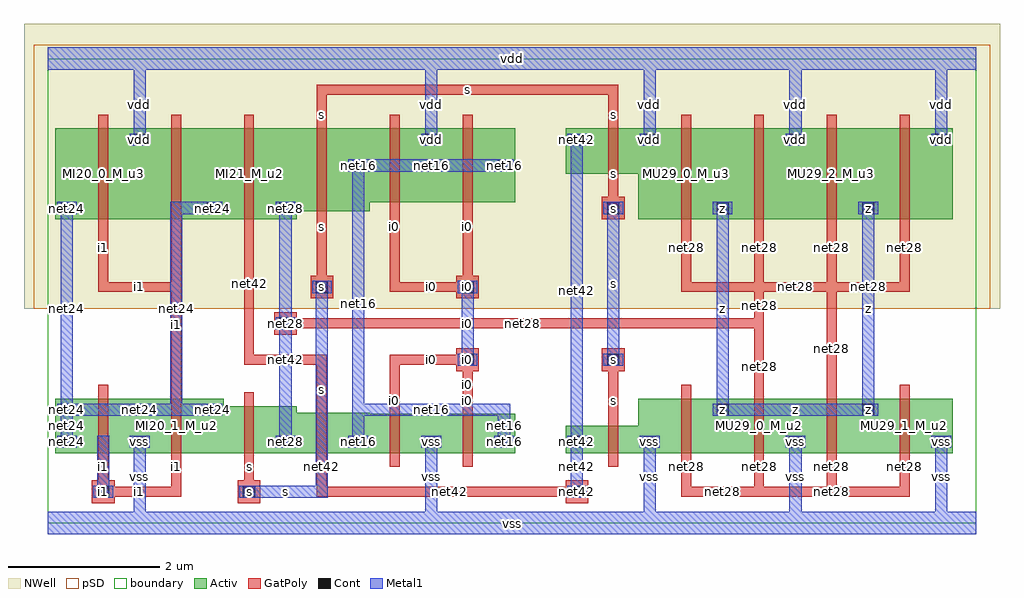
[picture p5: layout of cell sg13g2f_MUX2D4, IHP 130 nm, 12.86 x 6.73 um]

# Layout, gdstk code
import gdstk
lib = gdstk.Library(unit=1e-6, precision=1e-09)
def R(c, l, rs):  # rectangles x0, y0, x1, y1
    for r in rs: c.add(gdstk.rectangle(r[:2], r[2:], *l))
def A(c, l, x, y, w, h, nx, ny, dx, dy):  # array of equal rectangles
    R(c, l, [(x+i*dx, y+j*dy, x+i*dx+w, y+j*dy+h) for i in range(nx) for j in range(ny)])
Activ = (1, 0)
GatPoly = (5, 0)
Cont = (6, 0)
Metal1 = (8, 0)
pSD = (14, 0)
NWell = (31, 0)
TEXT = (63, 0)
boundary = (189, 4)

sg13g2f_mux2d4 = lib.new_cell('sg13g2f_MUX2D4')
A(sg13g2f_mux2d4, Activ, 2.985, 0.92, 0.3, 0.3, 6, 1, 0.96, 0)
A(sg13g2f_mux2d4, Activ, 7.785, 0.92, 1.26, 0.72, 4, 1, 0.96, 0)
A(sg13g2f_mux2d4, Activ, 0.105, 4, 1.26, 1.2, 3, 1, 0.96, 0)
A(sg13g2f_mux2d4, Activ, 7.785, 4, 1.26, 1.2, 4, 1, 0.96, 0)
A(sg13g2f_mux2d4, Activ, 7.785, 4.9, 0.3, 0.3, 3, 1, 1.92, 0)
R(sg13g2f_mux2d4, Activ, [(0.105,0.92,1.365,1.64), (0.105,0.92,0.405,1.22), (1.065,0.92,2.325,1.64), (1.065,0.92,1.365,1.22), (2.025,0.92,3.285,1.54), (2.985,0.92,4.245,1.455), (3.945,0.92,5.205,1.44), (4.905,0.92,6.165,1.44), (6.825,0.92,8.085,1.28), (9.705,0.92,10.005,1.22), (11.625,0.92,11.925,1.22), (0.105,1.34,0.405,1.64), (2.025,1.34,2.325,1.64), (8.745,1.34,9.045,1.64), (10.665,1.34,10.965,1.64), (0.105,4,0.405,4.3), (2.025,4,2.325,4.3), (2.985,4,3.285,4.3), (8.745,4,9.045,4.3), (10.665,4,10.965,4.3), (2.985,4.105,4.245,5.2), (3.945,4.225,5.205,5.2), (4.905,4.225,6.165,5.2), (3.945,4.56,4.245,4.86), (5.865,4.56,6.165,4.86), (6.825,4.6,8.085,5.2), (1.065,4.9,1.365,5.2), (4.905,4.9,5.205,5.2), (6.825,4.9,7.125,5.2)])
A(sg13g2f_mux2d4, GatPoly, 0.67, 0.345, 0.13, 0.79, 4, 1, 0.96, 0)
A(sg13g2f_mux2d4, GatPoly, 8.35, 0.345, 0.13, 0.79, 4, 1, 0.96, 0)
A(sg13g2f_mux2d4, GatPoly, 8.35, 0.74, 0.13, 1.08, 4, 1, 0.96, 0)
A(sg13g2f_mux2d4, GatPoly, 3.55, 1.005, 0.13, 1.21, 3, 1, 0.96, 0)
A(sg13g2f_mux2d4, GatPoly, 3.55, 3.045, 0.13, 1.73, 3, 1, 0.96, 0)
A(sg13g2f_mux2d4, GatPoly, 8.35, 3.045, 0.13, 1.17, 4, 1, 0.96, 0)
A(sg13g2f_mux2d4, GatPoly, 0.67, 3.82, 0.13, 1.56, 3, 1, 0.96, 0)
A(sg13g2f_mux2d4, GatPoly, 8.35, 3.82, 0.13, 1.56, 4, 1, 0.96, 0)
R(sg13g2f_mux2d4, GatPoly, [(0.585,0.26,0.885,0.56), (2.505,0.26,2.805,0.56), (6.825,0.26,7.125,0.56), (0.67,0.345,1.76,0.475), (3.55,0.345,7.04,0.475), (8.35,0.345,9.44,0.475), (9.31,0.345,11.36,0.475), (9.31,0.345,10.4,0.475), (0.67,0.74,0.8,1.82), (1.63,0.74,1.76,1.82), (2.59,0.74,2.72,1.72), (3.55,0.74,3.68,1.635), (4.51,0.74,4.64,1.62), (5.47,0.74,5.6,1.62), (7.39,0.74,7.52,1.46), (1.63,1.005,1.76,4.215), (7.39,1.005,7.52,2.215), (5.47,1.425,5.6,2.215), (9.31,1.425,9.44,2.695), (10.27,1.425,10.4,3.175), (5.385,2,5.685,2.3), (5.385,2,5.685,2.3), (7.305,2,7.605,2.3), (2.59,2.085,3.68,2.215), (2.59,2.085,2.72,4.215), (4.51,2.085,5.6,2.215), (2.985,2.48,3.285,2.78), (3.07,2.565,9.44,2.695), (9.31,2.565,9.44,3.175), (3.465,2.96,3.765,3.26), (5.385,2.96,5.685,3.26), (5.385,2.96,5.685,3.26), (0.67,3.045,1.76,3.175), (0.67,3.045,0.8,4.215), (4.51,3.045,5.6,3.175), (8.35,3.045,10.4,3.175), (9.31,3.045,10.4,3.175), (9.31,3.045,10.4,3.175), (10.27,3.045,11.36,3.175), (3.55,3.925,3.68,5.38), (7.305,4,7.605,4.3), (4.51,4.045,4.64,5.38), (5.47,4.045,5.6,5.38), (7.39,4.085,7.52,5.115), (7.39,4.42,7.52,5.38), (3.55,4.985,3.68,5.775), (7.39,4.985,7.52,5.775), (3.55,5.645,7.52,5.775)])
A(sg13g2f_mux2d4, Cont, 3.055, 0.99, 0.16, 0.16, 6, 1, 0.96, 0)
A(sg13g2f_mux2d4, Cont, 7.855, 4.97, 0.16, 0.16, 3, 1, 1.92, 0)
R(sg13g2f_mux2d4, Cont, [(0.655,0.33,0.815,0.49), (2.575,0.33,2.735,0.49), (6.895,0.33,7.055,0.49), (0.175,0.99,0.335,1.15), (1.135,0.99,1.295,1.15), (9.775,0.99,9.935,1.15), (11.695,0.99,11.855,1.15), (0.175,1.41,0.335,1.57), (2.095,1.41,2.255,1.57), (8.815,1.41,8.975,1.57), (10.735,1.41,10.895,1.57), (5.455,2.07,5.615,2.23), (5.455,2.07,5.615,2.23), (7.375,2.07,7.535,2.23), (3.055,2.55,3.215,2.71), (3.535,3.03,3.695,3.19), (5.455,3.03,5.615,3.19), (5.455,3.03,5.615,3.19), (0.175,4.07,0.335,4.23), (2.095,4.07,2.255,4.23), (3.055,4.07,3.215,4.23), (7.375,4.07,7.535,4.23), (8.815,4.07,8.975,4.23), (10.735,4.07,10.895,4.23), (4.015,4.63,4.175,4.79), (5.935,4.63,6.095,4.79), (1.135,4.97,1.295,5.13), (4.975,4.97,5.135,5.13), (6.895,4.97,7.055,5.13)])
A(sg13g2f_mux2d4, Metal1, 7.855, 0.07, 0.16, 1.08, 3, 2, 1.92, 4.9)
A(sg13g2f_mux2d4, Metal1, 3.005, 0.99, 0.26, 0.16, 6, 1, 0.96, 0)
A(sg13g2f_mux2d4, Metal1, 7.805, 4.97, 0.26, 0.16, 3, 1, 1.92, 0)
R(sg13g2f_mux2d4, Metal1, [(0,-0.15,12.24,0.15), (1.135,0.07,1.295,1.15), (4.975,0.07,5.135,1.15), (0.605,0.33,0.865,0.49), (0.655,0.33,0.815,1.15), (2.525,0.33,2.785,0.49), (2.575,0.33,3.695,0.49), (3.535,0.33,3.695,3.19), (6.845,0.33,7.105,0.49), (6.895,0.33,7.055,1.15), (0.125,0.99,0.385,1.15), (0.175,0.99,0.335,1.57), (1.085,0.99,1.345,1.15), (3.055,0.99,3.215,4.23), (4.015,0.99,4.175,4.79), (5.935,0.99,6.095,1.57), (6.895,0.99,7.055,5.13), (9.725,0.99,9.985,1.15), (11.645,0.99,11.905,1.15), (0.125,1.41,0.385,1.57), (0.175,1.41,2.255,1.57), (0.175,1.41,0.335,4.23), (0.175,1.41,1.775,1.57), (1.615,1.41,1.775,4.23), (2.045,1.41,2.305,1.57), (4.015,1.41,6.095,1.57), (8.765,1.41,9.025,1.57), (8.815,1.41,10.895,1.57), (8.815,1.41,8.975,4.23), (10.685,1.41,10.945,1.57), (10.735,1.41,10.895,4.23), (5.405,2.07,5.665,2.23), (5.405,2.07,5.665,2.23), (5.455,2.07,5.615,3.19), (5.455,2.07,5.615,3.19), (7.325,2.07,7.585,2.23), (7.375,2.07,7.535,4.23), (3.005,2.55,3.265,2.71), (3.485,3.03,3.745,3.19), (5.405,3.03,5.665,3.19), (5.405,3.03,5.665,3.19), (0.125,4.07,0.385,4.23), (1.615,4.07,2.255,4.23), (2.045,4.07,2.305,4.23), (3.005,4.07,3.265,4.23), (7.325,4.07,7.585,4.23), (8.765,4.07,9.025,4.23), (10.685,4.07,10.945,4.23), (3.965,4.63,4.225,4.79), (4.015,4.63,6.095,4.79), (5.885,4.63,6.145,4.79), (1.085,4.97,1.345,5.13), (1.135,4.97,1.295,6.05), (4.925,4.97,5.185,5.13), (4.975,4.97,5.135,6.05), (6.845,4.97,7.105,5.13), (0,5.97,12.24,6.27)])
R(sg13g2f_mux2d4, pSD, [(-0.18,2.82,12.42,5.94), (-0.18,5.94,12.42,6.3)])
R(sg13g2f_mux2d4, NWell, [(-0.31,2.82,12.55,6.58)])
R(sg13g2f_mux2d4, boundary, [(0,0,12.24,6.12)])
sg13g2f_mux2d4.add(gdstk.FlexPath([(0.105,0.41),(11.925,0.41)], 0, ends="flush", simple_path=True, layer=63, datatype=0))  # TEXT
sg13g2f_mux2d4.add(gdstk.FlexPath([(0.105,1.07),(11.925,1.07)], 0, ends="flush", simple_path=True, layer=63, datatype=0))  # TEXT
sg13g2f_mux2d4.add(gdstk.FlexPath([(0.105,1.49),(11.925,1.49)], 0, ends="flush", simple_path=True, layer=63, datatype=0))  # TEXT
sg13g2f_mux2d4.add(gdstk.FlexPath([(0.105,2.15),(11.925,2.15)], 0, ends="flush", simple_path=True, layer=63, datatype=0))  # TEXT
sg13g2f_mux2d4.add(gdstk.FlexPath([(0.105,2.63),(11.925,2.63)], 0, ends="flush", simple_path=True, layer=63, datatype=0))  # TEXT
sg13g2f_mux2d4.add(gdstk.FlexPath([(0.105,3.11),(11.925,3.11)], 0, ends="flush", simple_path=True, layer=63, datatype=0))  # TEXT
sg13g2f_mux2d4.add(gdstk.FlexPath([(0.105,4.15),(11.925,4.15)], 0, ends="flush", simple_path=True, layer=63, datatype=0))  # TEXT
sg13g2f_mux2d4.add(gdstk.FlexPath([(0.105,4.71),(11.925,4.71)], 0, ends="flush", simple_path=True, layer=63, datatype=0))  # TEXT
sg13g2f_mux2d4.add(gdstk.FlexPath([(0.105,5.05),(11.925,5.05)], 0, ends="flush", simple_path=True, layer=63, datatype=0))  # TEXT
sg13g2f_mux2d4.add(gdstk.FlexPath([(0.105,5.71),(11.925,5.71)], 0, ends="flush", simple_path=True, layer=63, datatype=0))  # TEXT
sg13g2f_mux2d4.add(gdstk.FlexPath([(0.255,0.07),(0.255,6.05)], 0, ends="flush", simple_path=True, layer=63, datatype=0))  # TEXT
sg13g2f_mux2d4.add(gdstk.FlexPath([(0.735,0.07),(0.735,6.05)], 0, ends="flush", simple_path=True, layer=63, datatype=0))  # TEXT
sg13g2f_mux2d4.add(gdstk.FlexPath([(1.215,0.07),(1.215,6.05)], 0, ends="flush", simple_path=True, layer=63, datatype=0))  # TEXT
sg13g2f_mux2d4.add(gdstk.FlexPath([(1.695,0.07),(1.695,6.05)], 0, ends="flush", simple_path=True, layer=63, datatype=0))  # TEXT
sg13g2f_mux2d4.add(gdstk.FlexPath([(2.175,0.07),(2.175,6.05)], 0, ends="flush", simple_path=True, layer=63, datatype=0))  # TEXT
sg13g2f_mux2d4.add(gdstk.FlexPath([(2.655,0.07),(2.655,6.05)], 0, ends="flush", simple_path=True, layer=63, datatype=0))  # TEXT
sg13g2f_mux2d4.add(gdstk.FlexPath([(3.135,0.07),(3.135,6.05)], 0, ends="flush", simple_path=True, layer=63, datatype=0))  # TEXT
sg13g2f_mux2d4.add(gdstk.FlexPath([(3.615,0.07),(3.615,6.05)], 0, ends="flush", simple_path=True, layer=63, datatype=0))  # TEXT
sg13g2f_mux2d4.add(gdstk.FlexPath([(4.095,0.07),(4.095,6.05)], 0, ends="flush", simple_path=True, layer=63, datatype=0))  # TEXT
sg13g2f_mux2d4.add(gdstk.FlexPath([(4.575,0.07),(4.575,6.05)], 0, ends="flush", simple_path=True, layer=63, datatype=0))  # TEXT
sg13g2f_mux2d4.add(gdstk.FlexPath([(5.055,0.07),(5.055,6.05)], 0, ends="flush", simple_path=True, layer=63, datatype=0))  # TEXT
sg13g2f_mux2d4.add(gdstk.FlexPath([(5.535,0.07),(5.535,6.05)], 0, ends="flush", simple_path=True, layer=63, datatype=0))  # TEXT
sg13g2f_mux2d4.add(gdstk.FlexPath([(6.015,0.07),(6.015,6.05)], 0, ends="flush", simple_path=True, layer=63, datatype=0))  # TEXT
sg13g2f_mux2d4.add(gdstk.FlexPath([(6.495,0.07),(6.495,6.05)], 0, ends="flush", simple_path=True, layer=63, datatype=0))  # TEXT
sg13g2f_mux2d4.add(gdstk.FlexPath([(6.975,0.07),(6.975,6.05)], 0, ends="flush", simple_path=True, layer=63, datatype=0))  # TEXT
sg13g2f_mux2d4.add(gdstk.FlexPath([(7.455,0.07),(7.455,6.05)], 0, ends="flush", simple_path=True, layer=63, datatype=0))  # TEXT
sg13g2f_mux2d4.add(gdstk.FlexPath([(7.935,0.07),(7.935,6.05)], 0, ends="flush", simple_path=True, layer=63, datatype=0))  # TEXT
sg13g2f_mux2d4.add(gdstk.FlexPath([(8.415,0.07),(8.415,6.05)], 0, ends="flush", simple_path=True, layer=63, datatype=0))  # TEXT
sg13g2f_mux2d4.add(gdstk.FlexPath([(8.895,0.07),(8.895,6.05)], 0, ends="flush", simple_path=True, layer=63, datatype=0))  # TEXT
sg13g2f_mux2d4.add(gdstk.FlexPath([(9.375,0.07),(9.375,6.05)], 0, ends="flush", simple_path=True, layer=63, datatype=0))  # TEXT
sg13g2f_mux2d4.add(gdstk.FlexPath([(9.855,0.07),(9.855,6.05)], 0, ends="flush", simple_path=True, layer=63, datatype=0))  # TEXT
sg13g2f_mux2d4.add(gdstk.FlexPath([(10.335,0.07),(10.335,6.05)], 0, ends="flush", simple_path=True, layer=63, datatype=0))  # TEXT
sg13g2f_mux2d4.add(gdstk.FlexPath([(10.815,0.07),(10.815,6.05)], 0, ends="flush", simple_path=True, layer=63, datatype=0))  # TEXT
sg13g2f_mux2d4.add(gdstk.FlexPath([(11.295,0.07),(11.295,6.05)], 0, ends="flush", simple_path=True, layer=63, datatype=0))  # TEXT
sg13g2f_mux2d4.add(gdstk.FlexPath([(11.775,0.07),(11.775,6.05)], 0, ends="flush", simple_path=True, layer=63, datatype=0))  # TEXT
sg13g2f_mux2d4.add(gdstk.Label('net24', (2.175,1.49), layer=6, texttype=0))
sg13g2f_mux2d4.add(gdstk.Label('net24', (0.255,1.07), layer=6, texttype=0))
sg13g2f_mux2d4.add(gdstk.Label('net24', (0.255,1.49), layer=6, texttype=0))
sg13g2f_mux2d4.add(gdstk.Label('net24', (2.175,4.15), layer=6, texttype=0))
sg13g2f_mux2d4.add(gdstk.Label('net24', (0.255,4.15), layer=6, texttype=0))
sg13g2f_mux2d4.add(gdstk.Label('s', (2.655,0.41), layer=6, texttype=0))
sg13g2f_mux2d4.add(gdstk.Label('s', (3.615,3.11), layer=6, texttype=0))
sg13g2f_mux2d4.add(gdstk.Label('s', (7.455,2.15), layer=6, texttype=0))
sg13g2f_mux2d4.add(gdstk.Label('s', (7.455,4.15), layer=6, texttype=0))
sg13g2f_mux2d4.add(gdstk.Label('net28', (3.135,1.07), layer=6, texttype=0))
sg13g2f_mux2d4.add(gdstk.Label('net28', (3.135,4.15), layer=6, texttype=0))
sg13g2f_mux2d4.add(gdstk.Label('net28', (3.135,2.63), layer=6, texttype=0))
sg13g2f_mux2d4.add(gdstk.Label('net16', (4.095,1.07), layer=6, texttype=0))
sg13g2f_mux2d4.add(gdstk.Label('net16', (6.015,1.07), layer=6, texttype=0))
sg13g2f_mux2d4.add(gdstk.Label('net16', (4.095,4.71), layer=6, texttype=0))
sg13g2f_mux2d4.add(gdstk.Label('net16', (6.015,4.71), layer=6, texttype=0))
sg13g2f_mux2d4.add(gdstk.Label('net42', (6.975,1.07), layer=6, texttype=0))
sg13g2f_mux2d4.add(gdstk.Label('net42', (6.975,5.05), layer=6, texttype=0))
sg13g2f_mux2d4.add(gdstk.Label('net42', (6.975,0.41), layer=6, texttype=0))
sg13g2f_mux2d4.add(gdstk.Label('i1', (0.735,0.41), layer=6, texttype=0))
sg13g2f_mux2d4.add(gdstk.Label('i0', (5.535,2.15), layer=6, texttype=0))
sg13g2f_mux2d4.add(gdstk.Label('i0', (5.535,3.11), layer=6, texttype=0))
sg13g2f_mux2d4.add(gdstk.Label('i0', (5.535,2.15), layer=6, texttype=0))
sg13g2f_mux2d4.add(gdstk.Label('i0', (5.535,3.11), layer=6, texttype=0))
sg13g2f_mux2d4.add(gdstk.Label('z', (8.895,1.49), layer=6, texttype=0))
sg13g2f_mux2d4.add(gdstk.Label('z', (10.815,1.49), layer=6, texttype=0))
sg13g2f_mux2d4.add(gdstk.Label('z', (8.895,4.15), layer=6, texttype=0))
sg13g2f_mux2d4.add(gdstk.Label('z', (10.815,4.15), layer=6, texttype=0))
sg13g2f_mux2d4.add(gdstk.Label('vss', (1.215,1.07), layer=6, texttype=0))
sg13g2f_mux2d4.add(gdstk.Label('vss', (5.055,1.07), layer=6, texttype=0))
sg13g2f_mux2d4.add(gdstk.Label('vss', (7.935,1.07), layer=6, texttype=0))
sg13g2f_mux2d4.add(gdstk.Label('vss', (9.855,1.07), layer=6, texttype=0))
sg13g2f_mux2d4.add(gdstk.Label('vss', (11.775,1.07), layer=6, texttype=0))
sg13g2f_mux2d4.add(gdstk.Label('vdd', (1.215,5.05), layer=6, texttype=0))
sg13g2f_mux2d4.add(gdstk.Label('vdd', (5.055,5.05), layer=6, texttype=0))
sg13g2f_mux2d4.add(gdstk.Label('vdd', (7.935,5.05), layer=6, texttype=0))
sg13g2f_mux2d4.add(gdstk.Label('vdd', (9.855,5.05), layer=6, texttype=0))
sg13g2f_mux2d4.add(gdstk.Label('vdd', (11.775,5.05), layer=6, texttype=0))
sg13g2f_mux2d4.add(gdstk.Label('net24', (2.175,1.49), layer=8, texttype=0))
sg13g2f_mux2d4.add(gdstk.Label('net24', (0.255,1.07), layer=8, texttype=0))
sg13g2f_mux2d4.add(gdstk.Label('net24', (0.255,1.49), layer=8, texttype=0))
sg13g2f_mux2d4.add(gdstk.Label('net24', (2.175,4.15), layer=8, texttype=0))
sg13g2f_mux2d4.add(gdstk.Label('net24', (0.255,4.15), layer=8, texttype=0))
sg13g2f_mux2d4.add(gdstk.Label('net24', (1.215,1.49), layer=8, texttype=0))
sg13g2f_mux2d4.add(gdstk.Label('net24', (0.255,2.82), layer=8, texttype=0))
sg13g2f_mux2d4.add(gdstk.Label('net24', (0.975,1.49), layer=8, texttype=0))
sg13g2f_mux2d4.add(gdstk.Label('net24', (1.695,2.82), layer=8, texttype=0))
sg13g2f_mux2d4.add(gdstk.Label('net24', (1.935,4.15), layer=8, texttype=0))
sg13g2f_mux2d4.add(gdstk.Label('net24', (0.255,1.28), layer=8, texttype=0))
sg13g2f_mux2d4.add(gdstk.Label('net28', (3.135,1.07), layer=8, texttype=0))
sg13g2f_mux2d4.add(gdstk.Label('net28', (3.135,4.15), layer=8, texttype=0))
sg13g2f_mux2d4.add(gdstk.Label('net28', (3.135,2.61), layer=8, texttype=0))
sg13g2f_mux2d4.add(gdstk.Label('net28', (3.135,2.63), layer=8, texttype=0))
sg13g2f_mux2d4.add(gdstk.Label('net16', (4.095,1.07), layer=8, texttype=0))
sg13g2f_mux2d4.add(gdstk.Label('net16', (6.015,1.07), layer=8, texttype=0))
sg13g2f_mux2d4.add(gdstk.Label('net16', (4.095,4.71), layer=8, texttype=0))
sg13g2f_mux2d4.add(gdstk.Label('net16', (6.015,4.71), layer=8, texttype=0))
sg13g2f_mux2d4.add(gdstk.Label('net16', (4.095,2.89), layer=8, texttype=0))
sg13g2f_mux2d4.add(gdstk.Label('net16', (6.015,1.28), layer=8, texttype=0))
sg13g2f_mux2d4.add(gdstk.Label('net16', (5.055,1.49), layer=8, texttype=0))
sg13g2f_mux2d4.add(gdstk.Label('net16', (5.055,4.71), layer=8, texttype=0))
sg13g2f_mux2d4.add(gdstk.Label('net42', (6.975,1.07), layer=8, texttype=0))
sg13g2f_mux2d4.add(gdstk.Label('net42', (6.975,5.05), layer=8, texttype=0))
sg13g2f_mux2d4.add(gdstk.Label('net42', (6.975,0.41), layer=8, texttype=0))
sg13g2f_mux2d4.add(gdstk.Label('net42', (6.975,0.74), layer=8, texttype=0))
sg13g2f_mux2d4.add(gdstk.Label('net42', (6.975,3.06), layer=8, texttype=0))
sg13g2f_mux2d4.add(gdstk.Label('vss', (1.215,1.07), layer=8, texttype=0))
sg13g2f_mux2d4.add(gdstk.Label('vss', (1.215,0.61), layer=8, texttype=0))
sg13g2f_mux2d4.add(gdstk.Label('vss', (5.055,1.07), layer=8, texttype=0))
sg13g2f_mux2d4.add(gdstk.Label('vss', (5.055,0.61), layer=8, texttype=0))
sg13g2f_mux2d4.add(gdstk.Label('vss', (7.935,1.07), layer=8, texttype=0))
sg13g2f_mux2d4.add(gdstk.Label('vss', (7.935,0.61), layer=8, texttype=0))
sg13g2f_mux2d4.add(gdstk.Label('vss', (9.855,1.07), layer=8, texttype=0))
sg13g2f_mux2d4.add(gdstk.Label('vss', (9.855,0.61), layer=8, texttype=0))
sg13g2f_mux2d4.add(gdstk.Label('vss', (11.775,1.07), layer=8, texttype=0))
sg13g2f_mux2d4.add(gdstk.Label('vss', (11.775,0.61), layer=8, texttype=0))
sg13g2f_mux2d4.add(gdstk.Label('vdd', (1.215,5.05), layer=8, texttype=0))
sg13g2f_mux2d4.add(gdstk.Label('vdd', (1.215,5.51), layer=8, texttype=0))
sg13g2f_mux2d4.add(gdstk.Label('vdd', (5.055,5.05), layer=8, texttype=0))
sg13g2f_mux2d4.add(gdstk.Label('vdd', (5.055,5.51), layer=8, texttype=0))
sg13g2f_mux2d4.add(gdstk.Label('vdd', (7.935,5.05), layer=8, texttype=0))
sg13g2f_mux2d4.add(gdstk.Label('vdd', (7.935,5.51), layer=8, texttype=0))
sg13g2f_mux2d4.add(gdstk.Label('vdd', (9.855,5.05), layer=8, texttype=0))
sg13g2f_mux2d4.add(gdstk.Label('vdd', (9.855,5.51), layer=8, texttype=0))
sg13g2f_mux2d4.add(gdstk.Label('vdd', (11.775,5.05), layer=8, texttype=0))
sg13g2f_mux2d4.add(gdstk.Label('vdd', (11.775,5.51), layer=8, texttype=0))
sg13g2f_mux2d4.add(gdstk.Label('s', (2.655,0.41), layer=8, texttype=2))
sg13g2f_mux2d4.add(gdstk.Label('s', (3.135,0.41), layer=8, texttype=2))
sg13g2f_mux2d4.add(gdstk.Label('s', (3.615,1.76), layer=8, texttype=2))
sg13g2f_mux2d4.add(gdstk.Label('s', (3.615,3.11), layer=8, texttype=2))
sg13g2f_mux2d4.add(gdstk.Label('s', (7.455,2.15), layer=8, texttype=2))
sg13g2f_mux2d4.add(gdstk.Label('s', (7.455,3.15), layer=8, texttype=2))
sg13g2f_mux2d4.add(gdstk.Label('s', (7.455,4.15), layer=8, texttype=2))
sg13g2f_mux2d4.add(gdstk.Label('i1', (0.735,0.41), layer=8, texttype=2))
sg13g2f_mux2d4.add(gdstk.Label('i1', (0.735,0.74), layer=8, texttype=2))
sg13g2f_mux2d4.add(gdstk.Label('i0', (5.535,2.15), layer=8, texttype=2))
sg13g2f_mux2d4.add(gdstk.Label('i0', (5.535,2.63), layer=8, texttype=2))
sg13g2f_mux2d4.add(gdstk.Label('i0', (5.535,3.11), layer=8, texttype=2))
sg13g2f_mux2d4.add(gdstk.Label('i0', (5.535,2.15), layer=8, texttype=2))
sg13g2f_mux2d4.add(gdstk.Label('i0', (5.535,2.63), layer=8, texttype=2))
sg13g2f_mux2d4.add(gdstk.Label('i0', (5.535,3.11), layer=8, texttype=2))
sg13g2f_mux2d4.add(gdstk.Label('z', (8.895,1.49), layer=8, texttype=2))
sg13g2f_mux2d4.add(gdstk.Label('z', (10.815,1.49), layer=8, texttype=2))
sg13g2f_mux2d4.add(gdstk.Label('z', (8.895,4.15), layer=8, texttype=2))
sg13g2f_mux2d4.add(gdstk.Label('z', (10.815,4.15), layer=8, texttype=2))
sg13g2f_mux2d4.add(gdstk.Label('z', (9.855,1.49), layer=8, texttype=2))
sg13g2f_mux2d4.add(gdstk.Label('z', (8.895,2.82), layer=8, texttype=2))
sg13g2f_mux2d4.add(gdstk.Label('z', (10.815,2.82), layer=8, texttype=2))
sg13g2f_mux2d4.add(gdstk.Label('vss', (6.12,0), layer=8, texttype=2))
sg13g2f_mux2d4.add(gdstk.Label('vdd', (6.12,6.12), layer=8, texttype=2))
sg13g2f_mux2d4.add(gdstk.Label('s', (2.655,0.41), layer=8, texttype=2))
sg13g2f_mux2d4.add(gdstk.Label('s', (3.135,0.41), layer=8, texttype=2))
sg13g2f_mux2d4.add(gdstk.Label('s', (3.615,1.76), layer=8, texttype=2))
sg13g2f_mux2d4.add(gdstk.Label('s', (3.615,3.11), layer=8, texttype=2))
sg13g2f_mux2d4.add(gdstk.Label('s', (7.455,2.15), layer=8, texttype=2))
sg13g2f_mux2d4.add(gdstk.Label('s', (7.455,3.15), layer=8, texttype=2))
sg13g2f_mux2d4.add(gdstk.Label('s', (7.455,4.15), layer=8, texttype=2))
sg13g2f_mux2d4.add(gdstk.Label('i1', (0.735,0.41), layer=8, texttype=2))
sg13g2f_mux2d4.add(gdstk.Label('i1', (0.735,0.74), layer=8, texttype=2))
sg13g2f_mux2d4.add(gdstk.Label('i0', (5.535,2.15), layer=8, texttype=2))
sg13g2f_mux2d4.add(gdstk.Label('i0', (5.535,2.63), layer=8, texttype=2))
sg13g2f_mux2d4.add(gdstk.Label('i0', (5.535,3.11), layer=8, texttype=2))
sg13g2f_mux2d4.add(gdstk.Label('i0', (5.535,2.15), layer=8, texttype=2))
sg13g2f_mux2d4.add(gdstk.Label('i0', (5.535,2.63), layer=8, texttype=2))
sg13g2f_mux2d4.add(gdstk.Label('i0', (5.535,3.11), layer=8, texttype=2))
sg13g2f_mux2d4.add(gdstk.Label('z', (8.895,1.49), layer=8, texttype=2))
sg13g2f_mux2d4.add(gdstk.Label('z', (10.815,1.49), layer=8, texttype=2))
sg13g2f_mux2d4.add(gdstk.Label('z', (8.895,4.15), layer=8, texttype=2))
sg13g2f_mux2d4.add(gdstk.Label('z', (10.815,4.15), layer=8, texttype=2))
sg13g2f_mux2d4.add(gdstk.Label('z', (9.855,1.49), layer=8, texttype=2))
sg13g2f_mux2d4.add(gdstk.Label('z', (8.895,2.82), layer=8, texttype=2))
sg13g2f_mux2d4.add(gdstk.Label('z', (10.815,2.82), layer=8, texttype=2))
sg13g2f_mux2d4.add(gdstk.Label('vss', (6.12,0), layer=8, texttype=2))
sg13g2f_mux2d4.add(gdstk.Label('vdd', (6.12,6.12), layer=8, texttype=2))
sg13g2f_mux2d4.add(gdstk.Label('MI21_M_u3', (2.655,1.23), layer=1, texttype=0))
sg13g2f_mux2d4.add(gdstk.Label('MU7_M_u3', (3.615,1.188), layer=1, texttype=0))
sg13g2f_mux2d4.add(gdstk.Label('MI20_0_M_u2', (0.735,1.28), layer=1, texttype=0))
sg13g2f_mux2d4.add(gdstk.Label('MI20_1_M_u2', (1.695,1.28), layer=1, texttype=0))
sg13g2f_mux2d4.add(gdstk.Label('MI19_0_M_u2', (4.575,1.18), layer=1, texttype=0))
sg13g2f_mux2d4.add(gdstk.Label('MI19_1_M_u2', (5.535,1.18), layer=1, texttype=0))
sg13g2f_mux2d4.add(gdstk.Label('MI18_M_u2', (7.455,1.1), layer=1, texttype=0))
sg13g2f_mux2d4.add(gdstk.Label('MU29_0_M_u2', (9.375,1.28), layer=1, texttype=0))
sg13g2f_mux2d4.add(gdstk.Label('MU29_1_M_u2', (11.295,1.28), layer=1, texttype=0))
sg13g2f_mux2d4.add(gdstk.Label('MU29_2_M_u2', (8.415,1.28), layer=1, texttype=0))
sg13g2f_mux2d4.add(gdstk.Label('MU29_3_M_u2', (10.335,1.28), layer=1, texttype=0))
sg13g2f_mux2d4.add(gdstk.Label('MI21_M_u2', (2.655,4.6), layer=1, texttype=0))
sg13g2f_mux2d4.add(gdstk.Label('MU7_M_u2', (3.615,4.653), layer=1, texttype=0))
sg13g2f_mux2d4.add(gdstk.Label('MI20_0_M_u3', (0.735,4.6), layer=1, texttype=0))
sg13g2f_mux2d4.add(gdstk.Label('MI20_1_M_u3', (1.695,4.6), layer=1, texttype=0))
sg13g2f_mux2d4.add(gdstk.Label('MI19_0_M_u3', (4.575,4.713), layer=1, texttype=0))
sg13g2f_mux2d4.add(gdstk.Label('MI19_1_M_u3', (5.535,4.713), layer=1, texttype=0))
sg13g2f_mux2d4.add(gdstk.Label('MI18_M_u3', (7.455,4.9), layer=1, texttype=0))
sg13g2f_mux2d4.add(gdstk.Label('MU29_0_M_u3', (8.415,4.6), layer=1, texttype=0))
sg13g2f_mux2d4.add(gdstk.Label('MU29_1_M_u3', (9.375,4.6), layer=1, texttype=0))
sg13g2f_mux2d4.add(gdstk.Label('MU29_2_M_u3', (10.335,4.6), layer=1, texttype=0))
sg13g2f_mux2d4.add(gdstk.Label('MU29_3_M_u3', (11.295,4.6), layer=1, texttype=0))
sg13g2f_mux2d4.add(gdstk.Label('net24', (2.175,1.49), layer=1, texttype=0))
sg13g2f_mux2d4.add(gdstk.Label('net24', (0.255,1.07), layer=1, texttype=0))
sg13g2f_mux2d4.add(gdstk.Label('net24', (0.255,1.49), layer=1, texttype=0))
sg13g2f_mux2d4.add(gdstk.Label('net24', (2.175,4.15), layer=1, texttype=0))
sg13g2f_mux2d4.add(gdstk.Label('net24', (0.255,4.15), layer=1, texttype=0))
sg13g2f_mux2d4.add(gdstk.Label('net28', (3.135,1.07), layer=1, texttype=0))
sg13g2f_mux2d4.add(gdstk.Label('net28', (3.135,4.15), layer=1, texttype=0))
sg13g2f_mux2d4.add(gdstk.Label('net16', (4.095,1.07), layer=1, texttype=0))
sg13g2f_mux2d4.add(gdstk.Label('net16', (6.015,1.07), layer=1, texttype=0))
sg13g2f_mux2d4.add(gdstk.Label('net16', (4.095,4.71), layer=1, texttype=0))
sg13g2f_mux2d4.add(gdstk.Label('net16', (6.015,4.71), layer=1, texttype=0))
sg13g2f_mux2d4.add(gdstk.Label('net42', (6.975,1.07), layer=1, texttype=0))
sg13g2f_mux2d4.add(gdstk.Label('net42', (6.975,5.05), layer=1, texttype=0))
sg13g2f_mux2d4.add(gdstk.Label('z', (8.895,1.49), layer=1, texttype=0))
sg13g2f_mux2d4.add(gdstk.Label('z', (10.815,1.49), layer=1, texttype=0))
sg13g2f_mux2d4.add(gdstk.Label('z', (8.895,4.15), layer=1, texttype=0))
sg13g2f_mux2d4.add(gdstk.Label('z', (10.815,4.15), layer=1, texttype=0))
sg13g2f_mux2d4.add(gdstk.Label('vss', (1.215,1.07), layer=1, texttype=0))
sg13g2f_mux2d4.add(gdstk.Label('vss', (5.055,1.07), layer=1, texttype=0))
sg13g2f_mux2d4.add(gdstk.Label('vss', (7.935,1.07), layer=1, texttype=0))
sg13g2f_mux2d4.add(gdstk.Label('vss', (9.855,1.07), layer=1, texttype=0))
sg13g2f_mux2d4.add(gdstk.Label('vss', (11.775,1.07), layer=1, texttype=0))
sg13g2f_mux2d4.add(gdstk.Label('vdd', (1.215,5.05), layer=1, texttype=0))
sg13g2f_mux2d4.add(gdstk.Label('vdd', (5.055,5.05), layer=1, texttype=0))
sg13g2f_mux2d4.add(gdstk.Label('vdd', (7.935,5.05), layer=1, texttype=0))
sg13g2f_mux2d4.add(gdstk.Label('vdd', (9.855,5.05), layer=1, texttype=0))
sg13g2f_mux2d4.add(gdstk.Label('vdd', (11.775,5.05), layer=1, texttype=0))
sg13g2f_mux2d4.add(gdstk.Label('s', (2.655,0.41), layer=8, texttype=25))
sg13g2f_mux2d4.add(gdstk.Label('s', (3.135,0.41), layer=8, texttype=25))
sg13g2f_mux2d4.add(gdstk.Label('s', (3.615,1.76), layer=8, texttype=25))
sg13g2f_mux2d4.add(gdstk.Label('s', (3.615,3.11), layer=8, texttype=25))
sg13g2f_mux2d4.add(gdstk.Label('s', (7.455,2.15), layer=8, texttype=25))
sg13g2f_mux2d4.add(gdstk.Label('s', (7.455,3.15), layer=8, texttype=25))
sg13g2f_mux2d4.add(gdstk.Label('s', (7.455,4.15), layer=8, texttype=25))
sg13g2f_mux2d4.add(gdstk.Label('i1', (0.735,0.41), layer=8, texttype=25))
sg13g2f_mux2d4.add(gdstk.Label('i1', (0.735,0.74), layer=8, texttype=25))
sg13g2f_mux2d4.add(gdstk.Label('i0', (5.535,2.15), layer=8, texttype=25))
sg13g2f_mux2d4.add(gdstk.Label('i0', (5.535,2.63), layer=8, texttype=25))
sg13g2f_mux2d4.add(gdstk.Label('i0', (5.535,3.11), layer=8, texttype=25))
sg13g2f_mux2d4.add(gdstk.Label('i0', (5.535,2.15), layer=8, texttype=25))
sg13g2f_mux2d4.add(gdstk.Label('i0', (5.535,2.63), layer=8, texttype=25))
sg13g2f_mux2d4.add(gdstk.Label('i0', (5.535,3.11), layer=8, texttype=25))
sg13g2f_mux2d4.add(gdstk.Label('z', (8.895,1.49), layer=8, texttype=25))
sg13g2f_mux2d4.add(gdstk.Label('z', (10.815,1.49), layer=8, texttype=25))
sg13g2f_mux2d4.add(gdstk.Label('z', (8.895,4.15), layer=8, texttype=25))
sg13g2f_mux2d4.add(gdstk.Label('z', (10.815,4.15), layer=8, texttype=25))
sg13g2f_mux2d4.add(gdstk.Label('z', (9.855,1.49), layer=8, texttype=25))
sg13g2f_mux2d4.add(gdstk.Label('z', (8.895,2.82), layer=8, texttype=25))
sg13g2f_mux2d4.add(gdstk.Label('z', (10.815,2.82), layer=8, texttype=25))
sg13g2f_mux2d4.add(gdstk.Label('vss', (6.12,0), layer=8, texttype=25))
sg13g2f_mux2d4.add(gdstk.Label('vdd', (6.12,6.12), layer=8, texttype=25))
sg13g2f_mux2d4.add(gdstk.Label('s', (2.655,0.74), layer=5, texttype=0))
sg13g2f_mux2d4.add(gdstk.Label('s', (2.655,0.41), layer=5, texttype=0))
sg13g2f_mux2d4.add(gdstk.Label('s', (3.615,3.11), layer=5, texttype=0))
sg13g2f_mux2d4.add(gdstk.Label('s', (3.615,3.91), layer=5, texttype=0))
sg13g2f_mux2d4.add(gdstk.Label('s', (7.455,1.61), layer=5, texttype=0))
sg13g2f_mux2d4.add(gdstk.Label('s', (7.455,2.15), layer=5, texttype=0))
sg13g2f_mux2d4.add(gdstk.Label('s', (7.455,4.15), layer=5, texttype=0))
sg13g2f_mux2d4.add(gdstk.Label('s', (7.455,4.6), layer=5, texttype=0))
sg13g2f_mux2d4.add(gdstk.Label('s', (3.615,5.38), layer=5, texttype=0))
sg13g2f_mux2d4.add(gdstk.Label('s', (5.535,5.71), layer=5, texttype=0))
sg13g2f_mux2d4.add(gdstk.Label('s', (7.455,5.38), layer=5, texttype=0))
sg13g2f_mux2d4.add(gdstk.Label('net28', (9.375,0.74), layer=5, texttype=0))
sg13g2f_mux2d4.add(gdstk.Label('net28', (10.335,0.41), layer=5, texttype=0))
sg13g2f_mux2d4.add(gdstk.Label('net28', (11.295,0.74), layer=5, texttype=0))
sg13g2f_mux2d4.add(gdstk.Label('net28', (9.375,2.06), layer=5, texttype=0))
sg13g2f_mux2d4.add(gdstk.Label('net28', (6.255,2.63), layer=5, texttype=0))
sg13g2f_mux2d4.add(gdstk.Label('net28', (3.135,2.63), layer=5, texttype=0))
sg13g2f_mux2d4.add(gdstk.Label('net28', (9.375,2.87), layer=5, texttype=0))
sg13g2f_mux2d4.add(gdstk.Label('net28', (9.855,3.11), layer=5, texttype=0))
sg13g2f_mux2d4.add(gdstk.Label('net28', (10.335,3.63), layer=5, texttype=0))
sg13g2f_mux2d4.add(gdstk.Label('net28', (8.895,0.41), layer=5, texttype=0))
sg13g2f_mux2d4.add(gdstk.Label('net28', (8.415,0.74), layer=5, texttype=0))
sg13g2f_mux2d4.add(gdstk.Label('net28', (9.855,0.41), layer=5, texttype=0))
sg13g2f_mux2d4.add(gdstk.Label('net28', (10.335,0.74), layer=5, texttype=0))
sg13g2f_mux2d4.add(gdstk.Label('net28', (10.335,2.3), layer=5, texttype=0))
sg13g2f_mux2d4.add(gdstk.Label('net28', (9.375,3.11), layer=5, texttype=0))
sg13g2f_mux2d4.add(gdstk.Label('net28', (8.415,3.63), layer=5, texttype=0))
sg13g2f_mux2d4.add(gdstk.Label('net28', (10.815,3.11), layer=5, texttype=0))
sg13g2f_mux2d4.add(gdstk.Label('net28', (11.295,3.63), layer=5, texttype=0))
sg13g2f_mux2d4.add(gdstk.Label('net28', (9.375,3.63), layer=5, texttype=0))
sg13g2f_mux2d4.add(gdstk.Label('net28', (9.855,3.11), layer=5, texttype=0))
sg13g2f_mux2d4.add(gdstk.Label('net42', (3.615,0.74), layer=5, texttype=0))
sg13g2f_mux2d4.add(gdstk.Label('net42', (5.295,0.41), layer=5, texttype=0))
sg13g2f_mux2d4.add(gdstk.Label('net42', (6.975,0.41), layer=5, texttype=0))
sg13g2f_mux2d4.add(gdstk.Label('net42', (3.615,1.61), layer=5, texttype=0))
sg13g2f_mux2d4.add(gdstk.Label('net42', (3.135,2.15), layer=5, texttype=0))
sg13g2f_mux2d4.add(gdstk.Label('net42', (2.655,3.15), layer=5, texttype=0))
sg13g2f_mux2d4.add(gdstk.Label('i1', (0.735,0.74), layer=5, texttype=0))
sg13g2f_mux2d4.add(gdstk.Label('i1', (1.215,0.41), layer=5, texttype=0))
sg13g2f_mux2d4.add(gdstk.Label('i1', (1.695,0.74), layer=5, texttype=0))
sg13g2f_mux2d4.add(gdstk.Label('i1', (1.695,2.61), layer=5, texttype=0))
sg13g2f_mux2d4.add(gdstk.Label('i1', (0.735,3.63), layer=5, texttype=0))
sg13g2f_mux2d4.add(gdstk.Label('i1', (1.215,3.11), layer=5, texttype=0))
sg13g2f_mux2d4.add(gdstk.Label('i1', (0.735,0.41), layer=5, texttype=0))
sg13g2f_mux2d4.add(gdstk.Label('i0', (4.575,1.61), layer=5, texttype=0))
sg13g2f_mux2d4.add(gdstk.Label('i0', (5.055,2.15), layer=5, texttype=0))
sg13g2f_mux2d4.add(gdstk.Label('i0', (5.535,2.15), layer=5, texttype=0))
sg13g2f_mux2d4.add(gdstk.Label('i0', (5.535,3.11), layer=5, texttype=0))
sg13g2f_mux2d4.add(gdstk.Label('i0', (5.535,3.91), layer=5, texttype=0))
sg13g2f_mux2d4.add(gdstk.Label('i0', (5.535,1.61), layer=5, texttype=0))
sg13g2f_mux2d4.add(gdstk.Label('i0', (5.535,2.15), layer=5, texttype=0))
sg13g2f_mux2d4.add(gdstk.Label('i0', (5.535,3.11), layer=5, texttype=0))
sg13g2f_mux2d4.add(gdstk.Label('i0', (5.055,3.11), layer=5, texttype=0))
sg13g2f_mux2d4.add(gdstk.Label('i0', (4.575,3.91), layer=5, texttype=0))
sg13g2f_mux2d4.add(gdstk.Label('i0', (5.535,1.82), layer=5, texttype=0))

lib.write_gds('sg13g2f_MUX2D4.gds')
